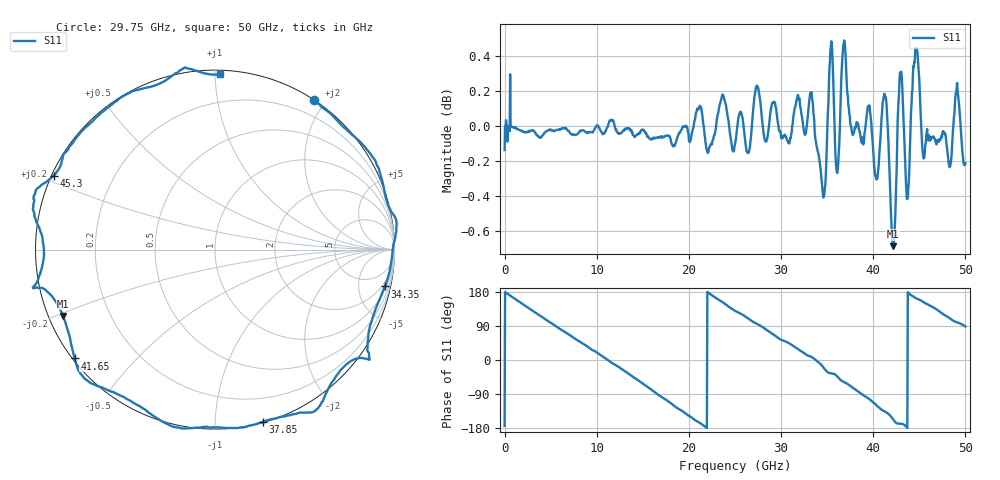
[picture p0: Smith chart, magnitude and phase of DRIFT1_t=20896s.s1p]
!Created with skrf (http://scikit-rf.org).
# Hz S RI R 50.0
!freq ReS11 ImS11
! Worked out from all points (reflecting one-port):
!   1001 points, 300 kHz to 50 GHz, reference 50 ohm
!   lowest |S11| = -0.7 dB at 42.15 GHz (marker M1), VSWR 25.35, Z = 2.06 - j10.4 ohm
!   phase of S11 starts at -174 deg and turns -818 deg over the sweep
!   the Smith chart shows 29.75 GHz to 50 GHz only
!   S11 on the Smith chart (normalised r, x): 29.75 GHz: 0.00, +1.86; 34.35 GHz: 1.39, -9.12; 37.85 GHz: 0.01, -1.32; 41.65 GHz: 0.01, -0.34; 45.3 GHz: 0.01, +0.22; 50 GHz: 0.02, +1.03
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300000  -0.9786 -0.1074
1.450291e9  -0.9122 0.405
3.25028e9  -0.5918 0.8015
6.250262e9  0.202 0.978
9.500243e9  0.8925 0.4421
1.250022e10  0.9316 -0.3498
1.580021e10  0.2372 -0.9628
1.74002e10  -0.2234 -0.968
1.875019e10  -0.5985 -0.7922
2.150017e10  -0.9928 -0.1525
2.350016e10  -0.923 0.4285
2.500015e10  -0.6333 0.7586
2.740014e10  -0.0957 1.023
2.975012e10  0.5503 0.8332
3.125011e10  0.7864 0.6198
3.31501e10  1.007 0.1718
3.435009e10  0.9463 -0.2053
3.520009e10  0.8564 -0.5735
3.750008e10  0.3708 -0.9313
3.785007e10  0.2688 -0.9581
3.960006e10  -0.2388 -0.9848
4.165005e10  -0.7824 -0.6063
4.215005e10  -0.8467 -0.3702
4.290004e10  -1.013 -0.2155
4.375004e10  -0.9544 0.015
4.530003e10  -0.8981 0.4122
4.770001e10  -0.4886 0.8676
5e10  0.0255 0.9757
